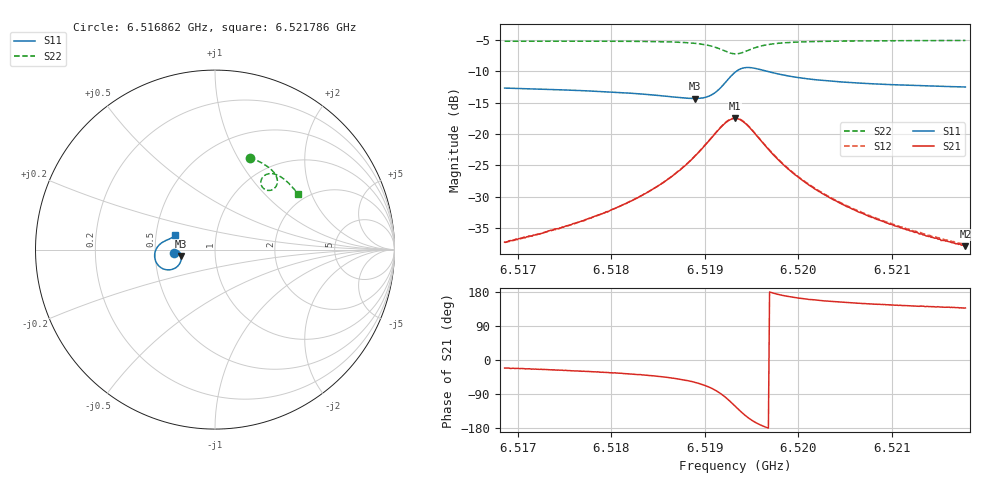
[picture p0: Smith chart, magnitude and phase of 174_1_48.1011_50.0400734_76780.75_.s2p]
#  HZ  S  RI  R  50.00
! Rohde & Schwarz Vector Network Analyzer
! Rohde-Schwarz,ZNB20-2Port,1311601062101988,3.16
! Created: UTC 12/23/2023, 3:52:05 AM
! freq[Hz]  re:S11  im:S11  re:S21  im:S21  re:S12  im:S12  re:S22  im:S22
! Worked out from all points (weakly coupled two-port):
!   401 points, 6.516862 GHz to 6.521786 GHz, reference 50 ohm
!   highest |S21| = -17.51 dB at 6.519324 GHz (marker M1); lowest = -37.9 dB at 6.521786 GHz (marker M2)
!   lowest |S11| = -14.3 dB at 6.518893 GHz (marker M3), VSWR 1.47, Z = 34.1 - j2.46 ohm
!   |S11| at or under -10 dB: start of sweep to 6.519339 GHz; 6.519664 GHz to end of sweep
!   |S22| runs from -7.2 to -5.1 dB; largest |S21 - S12| = 0.0042
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6.5168622e9  -0.2312 -0.0197  0.0128 -0.00499  0.0129 -0.00447  0.1935 0.5129
6.5172561e9  -0.2272 -0.0138  0.0147 -0.00668  0.0149 -0.00632  0.2228 0.5012
6.517687e9  -0.2215 -0.00839  0.0176 -0.0101  0.0179 -0.00941  0.2546 0.4858
6.5181178e9  -0.2134 -0.00577  0.0222 -0.0156  0.0226 -0.0149  0.2868 0.4664
6.5185117e9  -0.2022 -0.00974  0.0284 -0.0267  0.0293 -0.026  0.3172 0.442
6.518721e9  -0.1945 -0.0185  0.0325 -0.039  0.0337 -0.0379  0.3333 0.4229
6.5188934e9  -0.1885 -0.0347  0.0345 -0.0566  0.0362 -0.0558  0.3446 0.3998
6.5190041e9  -0.1883 -0.0534  0.0313 -0.0748  0.0339 -0.0743  0.3475 0.3793
6.5190903e9  -0.1947 -0.0741  0.0222 -0.0937  0.0253 -0.0938  0.3435 0.3592
6.5192257e9  -0.2355 -0.1091  -0.0196 -0.1218  -0.0161 -0.1233  0.3125 0.3309
6.519275e9  -0.2625 -0.113  -0.0443 -0.1225  -0.0411 -0.1247  0.2932 0.3298
6.5193242e9  -0.2914 -0.106  -0.0696 -0.1135  -0.0666 -0.1163  0.2744 0.3375
6.5193858e9  -0.3203 -0.0825  -0.0929 -0.0897  -0.091 -0.0932  0.2585 0.3574
6.5194473e9  -0.3346 -0.0516  -0.1022 -0.0614  -0.1011 -0.0648  0.2557 0.3804
6.5195458e9  -0.3325 -0.00899  -0.0957 -0.0253  -0.0957 -0.0283  0.2694 0.4077
6.5196443e9  -0.3186 0.0175  -0.0809 -0.00504  -0.0815 -0.00754  0.2896 0.4201
6.5198659e9  -0.2893 0.0427  -0.0538 0.0106  -0.0546 0.00907  0.3273 0.4219
6.520149e9  -0.267 0.0537  -0.0353 0.0134  -0.0361 0.0126  0.3594 0.4093
6.520506e9  -0.2512 0.0605  -0.0236 0.0126  -0.0243 0.0122  0.3884 0.3892
6.5209738e9  -0.2382 0.0675  -0.0158 0.0109  -0.0164 0.0107  0.4183 0.362
6.5214046e9  -0.2298 0.0735  -0.0119 0.00963  -0.0124 0.00948  0.4419 0.3357
6.5217862e9  -0.2234 0.0788  -0.0094 0.00864  -0.00983 0.00869  0.4602 0.3121
